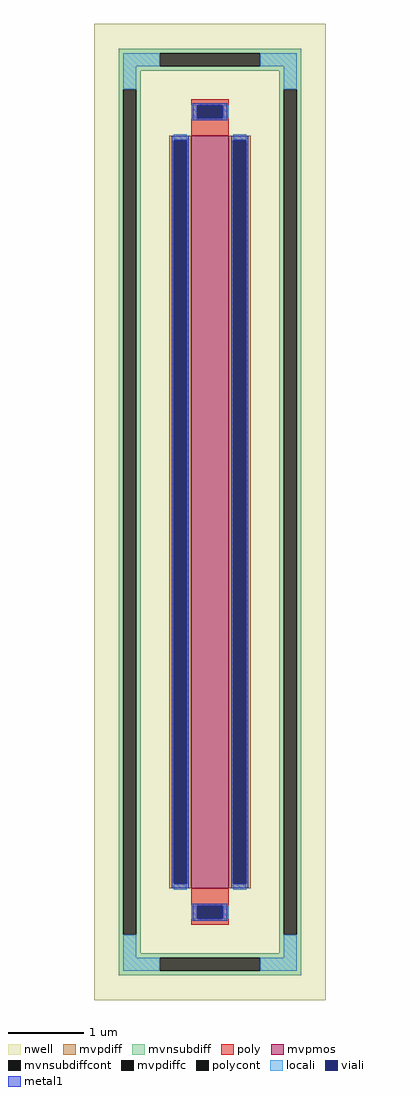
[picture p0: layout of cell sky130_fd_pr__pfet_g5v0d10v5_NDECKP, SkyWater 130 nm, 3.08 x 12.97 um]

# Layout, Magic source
magic
tech sky130A
magscale 1 2
<< nwell >>
rect -308 -1297 308 1297
<< mvpmos >>
rect -50 -1000 50 1000
<< mvpdiff >>
rect -108 988 -50 1000
rect -108 -988 -96 988
rect -62 -988 -50 988
rect -108 -1000 -50 -988
rect 50 988 108 1000
rect 50 -988 62 988
rect 96 -988 108 988
rect 50 -1000 108 -988
<< mvpdiffc >>
rect -96 -988 -62 988
rect 62 -988 96 988
<< mvnsubdiff >>
rect -242 1219 242 1231
rect -242 1185 -134 1219
rect 134 1185 242 1219
rect -242 1173 242 1185
rect -242 1123 -184 1173
rect -242 -1123 -230 1123
rect -196 -1123 -184 1123
rect 184 1123 242 1173
rect -242 -1173 -184 -1123
rect 184 -1123 196 1123
rect 230 -1123 242 1123
rect 184 -1173 242 -1123
rect -242 -1185 242 -1173
rect -242 -1219 -134 -1185
rect 134 -1219 242 -1185
rect -242 -1231 242 -1219
<< mvnsubdiffcont >>
rect -134 1185 134 1219
rect -230 -1123 -196 1123
rect 196 -1123 230 1123
rect -134 -1219 134 -1185
<< poly >>
rect -50 1081 50 1097
rect -50 1047 -34 1081
rect 34 1047 50 1081
rect -50 1000 50 1047
rect -50 -1047 50 -1000
rect -50 -1081 -34 -1047
rect 34 -1081 50 -1047
rect -50 -1097 50 -1081
<< polycont >>
rect -34 1047 34 1081
rect -34 -1081 34 -1047
<< locali >>
rect -230 1185 -134 1219
rect 134 1185 230 1219
rect -230 1123 -196 1185
rect 196 1123 230 1185
rect -50 1047 -34 1081
rect 34 1047 50 1081
rect -96 988 -62 1004
rect -96 -1004 -62 -988
rect 62 988 96 1004
rect 62 -1004 96 -988
rect -50 -1081 -34 -1047
rect 34 -1081 50 -1047
rect -230 -1185 -196 -1123
rect 196 -1185 230 -1123
rect -230 -1219 -134 -1185
rect 134 -1219 230 -1185
<< viali >>
rect -34 1047 34 1081
rect -96 -988 -62 988
rect 62 -988 96 988
rect -34 -1081 34 -1047
<< metal1 >>
rect -46 1081 46 1087
rect -46 1047 -34 1081
rect 34 1047 46 1081
rect -46 1041 46 1047
rect -102 988 -56 1000
rect -102 -988 -96 988
rect -62 -988 -56 988
rect -102 -1000 -56 -988
rect 56 988 102 1000
rect 56 -988 62 988
rect 96 -988 102 988
rect 56 -1000 102 -988
rect -46 -1047 46 -1041
rect -46 -1081 -34 -1047
rect 34 -1081 46 -1047
rect -46 -1087 46 -1081
<< properties >>
string FIXED_BBOX -213 -1202 213 1202
string gencell sky130_fd_pr__pfet_g5v0d10v5
string library sky130
string parameters w 10.0 l 0.5 m 1 nf 1 diffcov 100 polycov 100 guard 1 glc 1 grc 1 gtc 1 gbc 1 tbcov 100 rlcov 100 topc 1 botc 1 poverlap 0 doverlap 1 lmin 0.50 wmin 0.42 class mosfet compatible {sky130_fd_pr__pfet_01v8  sky130_fd_pr__pfet_01v8_lvt sky130_fd_pr__pfet_01v8_hvt  sky130_fd_pr__pfet_g5v0d10v5} full_metal 1 viasrc 100 viadrn 100 viagate 100 viagb 0 viagr 0 viagl 0 viagt 0
<< end >>
